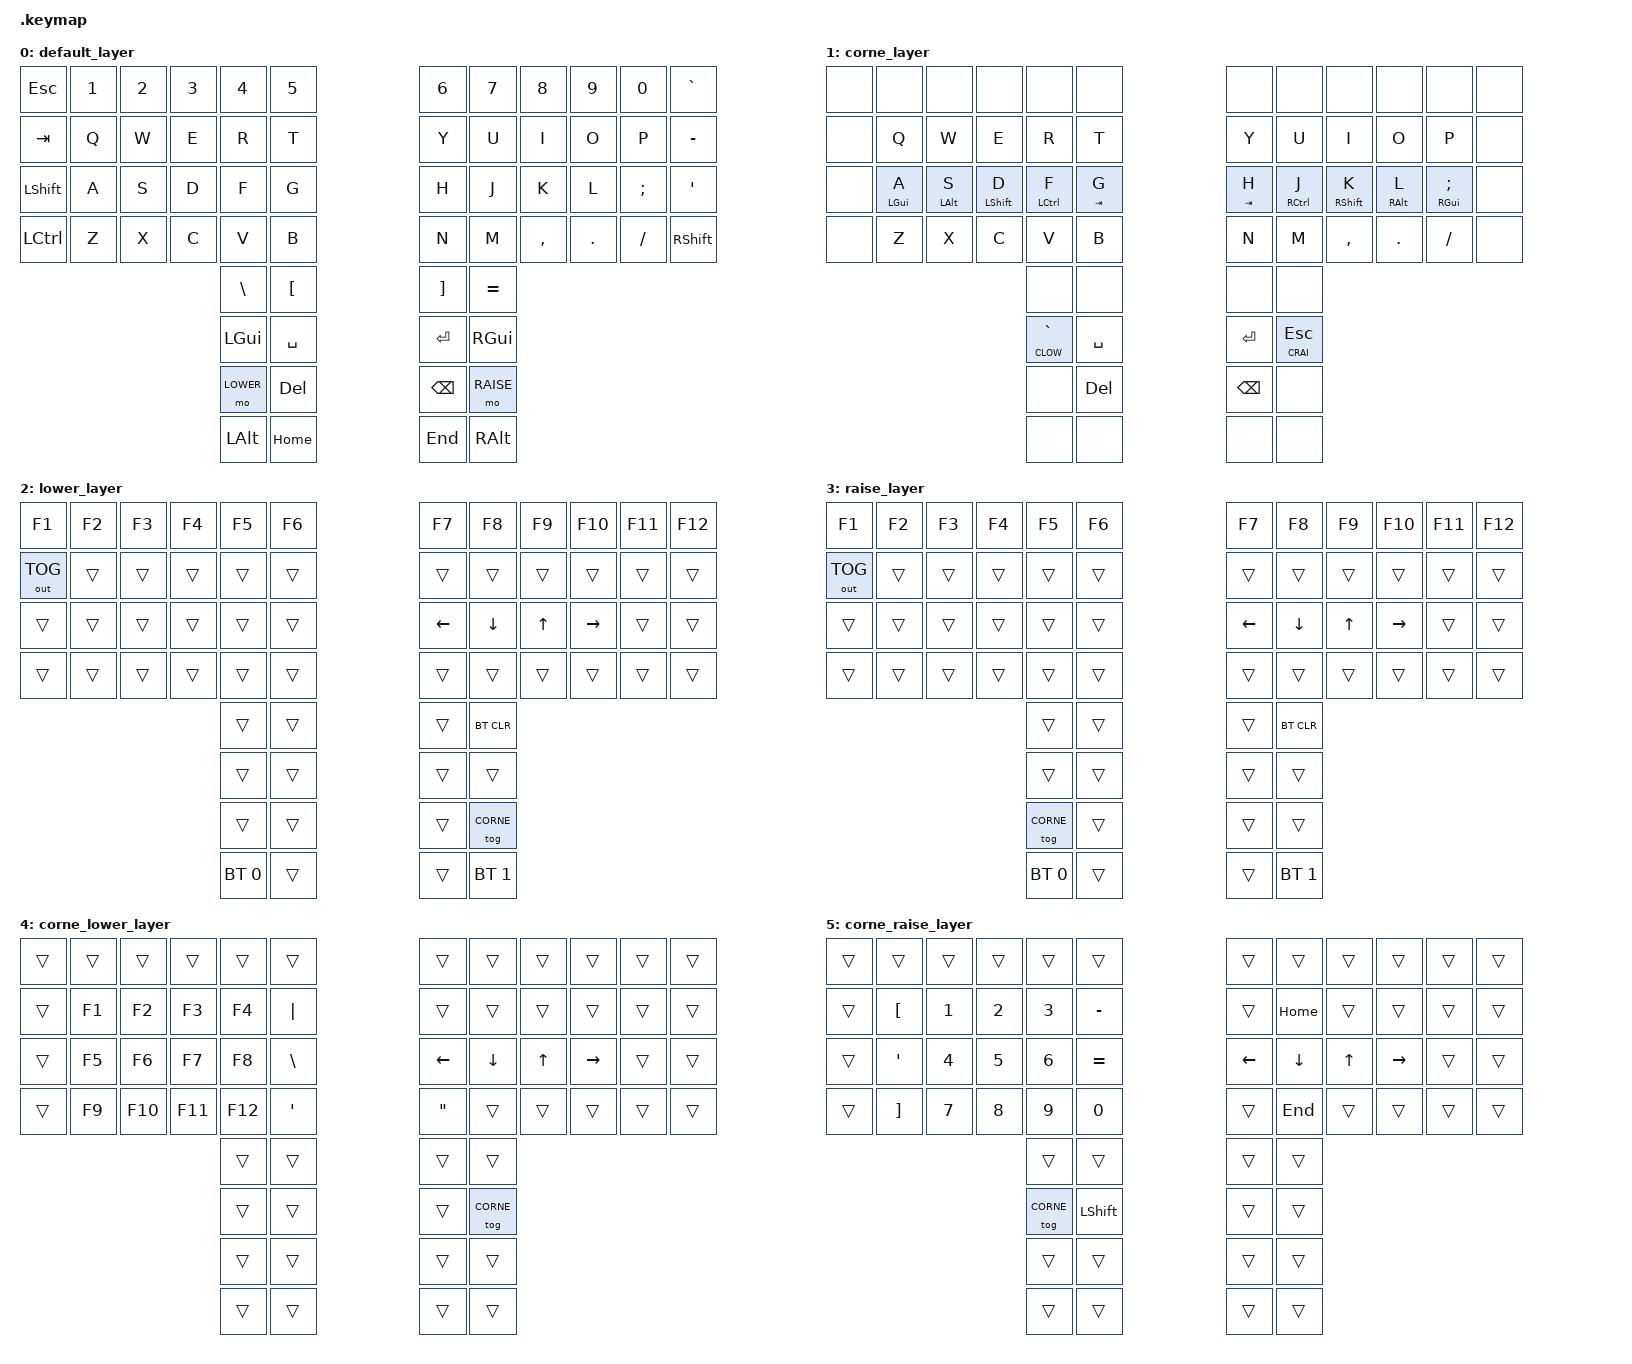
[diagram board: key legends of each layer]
/*
 * Copyright (c) 2020 The ZMK Contributors
 *
 * SPDX-License-Identifier: MIT
 */
/**/

#include <behaviors.dtsi>
#include <dt-bindings/zmk/keys.h>
#include <dt-bindings/zmk/bt.h>
#include <dt-bindings/zmk/outputs.h>

#define DEFAULT 0
#define CORNE 1
#define LOWER 2
#define RAISE 3
#define CLOW 4
#define CRAI 5

&mt {
    tapping_term_ms = <400>;
};

/ {
    keymap {
        compatible = "zmk,keymap";

        default_layer { //qwerty
            bindings = <
&kp ESC    &kp N1  &kp N2   &kp N3   &kp N4    &kp N5                      &kp N6      &kp N7    &kp N8     &kp N9   &kp N0    &kp GRAVE
&kp TAB    &kp Q   &kp W    &kp E    &kp R     &kp T                       &kp Y       &kp U     &kp I      &kp O    &kp P     &kp MINUS
&kp LSHFT  &kp A   &kp S    &kp D    &kp F     &kp G                       &kp H       &kp J     &kp K      &kp L    &kp SEMI  &kp SQT
&kp LCTRL  &kp Z   &kp X    &kp C    &kp V     &kp B                       &kp N       &kp M     &kp COMMA  &kp DOT  &kp FSLH  &kp RSHFT
                                     &kp BSLH  &kp LBKT                    &kp RBKT    &kp EQUAL  
                                     &kp LGUI  &kp SPACE                   &kp RETURN  &kp RGUI                   
                                     &mo LOWER &kp DEL                     &kp BSPC    &mo RAISE
                                     &kp LALT  &kp HOME                    &kp END     &kp RALT
            >;
        };

        corne_layer { //qwerty - 36 key (corne)
            bindings = <
&none    &none   &none    &none    &none     &none                       &none       &none     &none      &none    &none     &none
&none    &kp Q   &kp W    &kp E    &kp R     &kp T                       &kp Y       &kp U     &kp I      &kp O    &kp P     &none
&none    &mt LGUI A &mt LALT S &mt LSHFT D   &mt LCTRL F &mt TAB G       &mt TAB H       &mt RCTRL J     &mt RSHFT K      &mt RALT L    &mt RGUI SEMI  &none
&none    &kp Z   &kp X    &kp C    &kp V     &kp B                       &kp N       &kp M     &kp COMMA  &kp DOT  &kp FSLH  &none
                                   &none     &none                       &none       &none  
                                   &lt CLOW GRAVE  &kp SPACE             &kp RETURN  &lt CRAI ESC                   
                                   &none     &kp DEL                     &kp BSPC    &none
                                   &none     &none                       &none       &none
            >;
        };


        lower_layer { //function keys
           bindings = <  
&kp F1        &kp F2  &kp F3       &kp F4      &kp F5       &kp F6                 &kp F7      &kp F8       &kp F9      &kp F10    &kp F11 &kp F12
&out OUT_TOG  &trans  &trans       &trans      &trans       &trans                 &trans      &trans       &trans      &trans     &trans  &trans
&trans        &trans  &trans       &trans      &trans       &trans                 &kp LEFT    &kp DOWN     &kp UP      &kp RIGHT  &trans  &trans
&trans        &trans  &trans       &trans      &trans       &trans                 &trans      &trans       &trans      &trans     &trans  &trans
                                               &trans       &trans                 &trans      &bt BT_CLR
                                               &trans       &trans                 &trans      &trans                 
                                               &trans       &trans                 &trans      &tog CORNE
                                               &bt BT_SEL 0 &trans                 &trans      &bt BT_SEL 1
            >;
        };

        raise_layer { //hardware controls
           bindings = <
&kp F1        &kp F2  &kp F3       &kp F4      &kp F5       &kp F6                 &kp F7      &kp F8       &kp F9      &kp F10    &kp F11 &kp F12
&out OUT_TOG  &trans  &trans       &trans      &trans       &trans                 &trans      &trans       &trans      &trans     &trans  &trans
&trans        &trans  &trans       &trans      &trans       &trans                 &kp LEFT    &kp DOWN     &kp UP      &kp RIGHT  &trans  &trans
&trans        &trans  &trans       &trans      &trans       &trans                 &trans      &trans       &trans      &trans     &trans  &trans
                                               &trans       &trans                 &trans      &bt BT_CLR
                                               &trans       &trans                 &trans      &trans                 
                                               &tog CORNE   &trans                 &trans      &trans
                                               &bt BT_SEL 0 &trans                 &trans      &bt BT_SEL 1
      	    >;
        };

        corne_lower_layer { //function keys
           bindings = <  
&trans        &trans  &trans       &trans      &trans       &trans                 &trans      &trans       &trans      &trans     &trans  &trans
&trans        &kp F1  &kp F2       &kp F3      &kp F4       &kp PIPE               &trans      &trans       &trans      &trans     &trans  &trans
&trans        &kp F5  &kp F6       &kp F7      &kp F8       &kp BSLH               &kp LEFT    &kp DOWN     &kp UP      &kp RIGHT  &trans  &trans
&trans        &kp F9  &kp F10      &kp F11     &kp F12      &kp SQT                &kp DQT     &trans       &trans      &trans     &trans  &trans
                                               &trans       &trans                 &trans      &trans                 
                                               &trans       &trans                 &trans      &tog CORNE
                                               &trans       &trans                 &trans      &trans                 
                                               &trans       &trans                 &trans      &trans                 
            >;
        };

        corne_raise_layer { //hardware controls
           bindings = <
&trans        &trans   &trans       &trans      &trans       &trans                 &trans      &trans       &trans      &trans     &trans  &trans
&trans        &kp LBKT &kp N1       &kp N2      &kp N3       &kp MINUS              &trans      &kp HOME     &trans      &trans     &trans  &trans
&trans        &kp SQT  &kp N4       &kp N5      &kp N6       &kp EQUAL              &kp LEFT    &kp DOWN     &kp UP      &kp RIGHT  &trans  &trans
&trans        &kp RBKT &kp N7       &kp N8      &kp N9       &kp N0                 &trans      &kp END      &trans      &trans     &trans  &trans
                                                &trans       &trans                 &trans      &trans                 
                                                &tog CORNE   &kp LSHFT              &trans      &trans
                                                &trans       &trans                 &trans      &trans                 
                                                &trans       &trans                 &trans      &trans                 
      	    >;
        };

    };
};
